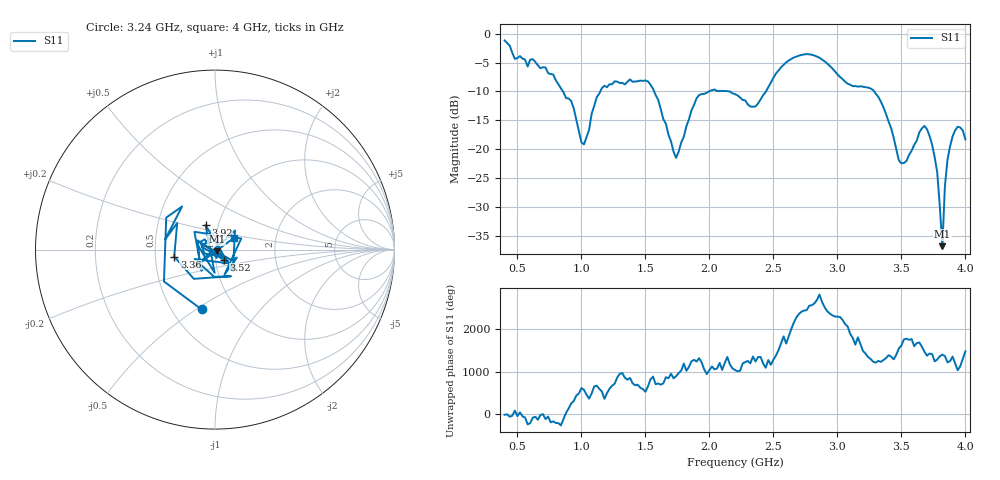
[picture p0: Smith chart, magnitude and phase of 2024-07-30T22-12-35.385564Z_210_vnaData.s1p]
!Created with skrf (http://scikit-rf.org).
# Hz S RI R 50.0
!freq ReS11 ImS11
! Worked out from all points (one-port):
!   181 points, 400 MHz to 4 GHz, reference 50 ohm
!   lowest |S11| = -36.8 dB at 3.82 GHz (marker M1), VSWR 1.03, Z = 51 - j1.06 ohm
!   |S11| at or under -10 dB: 856.1 MHz to 1.147 GHz (291.3 MHz wide, 29.1 % of centre); 1.568 GHz to 1.995 GHz (426.8 MHz wide, 24 % of centre); 3.288 GHz to end of sweep (the widest 3 of 4)
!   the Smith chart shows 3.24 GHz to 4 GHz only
!   S11 on the Smith chart (normalised r, x): 3.24 GHz: 0.70, -0.53; 3.36 GHz: 0.63, -0.05; 3.52 GHz: 1.10, -0.13; 3.92 GHz: 0.87, +0.24; 4 GHz: 1.22, +0.16
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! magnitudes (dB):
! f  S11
! 400 MHz  -1.2
! 860 MHz  -10.1
! 920 MHz  -11.7
! 1.02 GHz  -19.2
! 1.16 GHz  -9.4
! 1.3 GHz  -8.5
! 1.52 GHz  -8.3
! 1.74 GHz  -21.5
! 1.76 GHz  -20.4
! 1.92 GHz  -10.6
! 2.2 GHz  -10.5
! 2.36 GHz  -12.6
! 2.66 GHz  -4.1
! 2.86 GHz  -4.2
! 3.1 GHz  -8.8
! 3.24 GHz  -9.3
! 3.36 GHz  -12.8
! 3.48 GHz  -21.9
! 3.52 GHz  -22.4
! 3.56 GHz  -21.0
! 3.68 GHz  -16.0
! 3.72 GHz  -17.7
! 3.78 GHz  -24.0
! 3.82 GHz  -36.8
! 3.84 GHz  -26.4
! 3.86 GHz  -21.9
! 3.92 GHz  -16.7
! 4 GHz  -18.3
